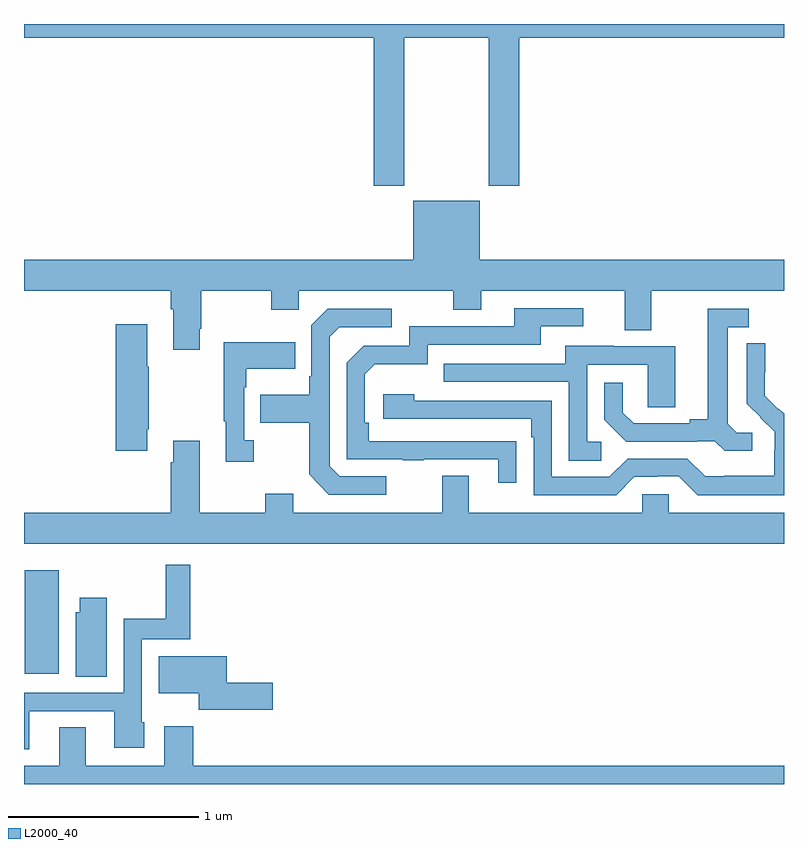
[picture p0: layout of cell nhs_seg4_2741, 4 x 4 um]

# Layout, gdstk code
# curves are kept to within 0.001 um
import gdstk
lib = gdstk.Library(unit=1e-6, precision=1e-09)
def R(c, l, rs):  # rectangles x0, y0, x1, y1
    for r in rs: c.add(gdstk.rectangle(r[:2], r[2:], *l))
def P(c, l, *ps):  # polygons
    for p in ps: c.add(gdstk.Polygon(p, *l))
L2000_40 = (2000, 40)

nhs_seg4_2741 = lib.new_cell('nhs_seg4_2741')
R(nhs_seg4_2741, L2000_40, [(255.005,785.48,255.184,786.025)])
P(nhs_seg4_2741, L2000_40, [(257.001,788.828),(257.446,788.828),(257.446,788.049),(257.606,788.049),(257.606,788.828),(259,788.828),(259,788.9),(255,788.9),(255,788.828),(256.841,788.828),(256.841,788.049),(257.001,788.049)],
  [(255.925,787.297),(255.933,787.297),(255.933,787.496),(256.3,787.496),(256.3,787.397),(256.446,787.397),(256.446,787.496),(257.26,787.496),(257.26,787.397),(257.407,787.397),(257.407,787.496),(258.161,787.496),(258.161,787.288),(258.301,787.288),(258.301,787.496),(259,787.496),(259,787.66),(257.398,787.66),(257.398,787.969),(257.048,787.969),(257.048,787.66),(255,787.66),(255,787.496),(255.773,787.496),(255.773,787.4),(255.785,787.4),(255.785,787.185),(255.925,787.185)],
  [(257.591,786.704),(256.814,786.705),(256.814,786.802),(256.794,786.802),(256.794,787.056),(256.847,787.109),(257.124,787.109),(257.124,787.212),(257.719,787.212),(257.719,787.308),(257.944,787.308),(257.944,787.404),(257.579,787.404),(257.579,787.308),(257.028,787.308),(257.028,787.206),(256.788,787.206),(256.698,787.116),(256.698,786.609),(256.993,786.609),(256.993,786.604),(257.105,786.604),(257.105,786.609),(257.495,786.609),(257.495,786.486),(257.591,786.486)],
  [(256.906,786.519),(256.662,786.519),(256.608,786.573),(256.608,787.254),(256.659,787.305),(256.936,787.305),(256.936,787.401),(256.599,787.401),(256.512,787.314),(256.512,787.045),(256.5,787.045),(256.5,786.949),(256.243,786.949),(256.243,786.802),(256.5,786.802),(256.5,786.529),(256.605,786.423),(256.906,786.423)],
  [(258.832,786.75),(258.75,786.75),(258.703,786.797),(258.703,787.305),(258.814,787.305),(258.814,787.401),(258.599,787.401),(258.599,786.821),(258.503,786.821),(258.503,786.798),(258.208,786.798),(258.151,786.855),(258.151,787.012),(258.054,787.012),(258.054,786.818),(258.17,786.702),(258.542,786.702),(258.542,786.705),(258.636,786.705),(258.688,786.653),(258.832,786.653)],
  [(255.649,786.766),(255.657,786.766),(255.657,787.097),(255.649,787.097),(255.649,787.321),(255.482,787.321),(255.482,786.654),(255.649,786.654)],
  [(256.21,786.71),(256.158,786.71),(256.158,786.989),(256.171,786.989),(256.171,787.085),(256.427,787.085),(256.427,787.225),(256.05,787.225),(256.05,786.809),(256.061,786.809),(256.061,786.597),(256.21,786.597)],
  [(259,786.848),(258.972,786.876),(258.969,786.873),(258.899,786.944),(258.9,787.22),(258.804,787.22),(258.804,786.902),(258.95,786.754),(258.95,786.657),(258.948,786.657),(258.948,786.523),(258.685,786.523),(258.685,786.519),(258.585,786.519),(258.492,786.612),(258.177,786.612),(258.081,786.516),(257.778,786.516),(257.778,786.918),(257.054,786.918),(257.054,786.952),(256.892,786.952),(256.892,786.822),(257.669,786.822),(257.669,786.725),(257.682,786.725),(257.682,786.42),(258.117,786.42),(258.213,786.516),(258.332,786.516),(258.332,786.519),(258.447,786.519),(258.547,786.419),(259,786.419)],
  [(258.037,786.702),(257.964,786.702),(257.964,787.107),(258.282,787.107),(258.282,786.883),(258.427,786.883),(258.427,787.203),(258.103,787.203),(258.103,787.207),(257.849,787.207),(257.849,787.113),(257.209,787.113),(257.209,787.017),(257.868,787.017),(257.868,786.601),(258.037,786.601)],
  [(259,786.328),(258.393,786.328),(258.393,786.426),(258.255,786.426),(258.255,786.328),(257.341,786.328),(257.341,786.523),(257.201,786.523),(257.201,786.328),(256.417,786.328),(256.417,786.427),(256.27,786.427),(256.27,786.328),(255.925,786.328),(255.925,786.706),(255.785,786.706),(255.785,786.593),(255.773,786.593),(255.773,786.328),(255,786.328),(255,786.164),(259,786.164)],
  [(255.028,785.283),(255.476,785.283),(255.476,785.09),(255.634,785.09),(255.634,785.226),(255.621,785.226),(255.621,785.661),(255.875,785.661),(255.875,786.055),(255.747,786.055),(255.747,785.77),(255.525,785.77),(255.525,785.379),(255,785.379),(255,785.082),(255.028,785.082)],
  [(255.436,785.881),(255.293,785.881),(255.293,785.805),(255.272,785.805),(255.272,785.464),(255.436,785.464)],
  [(256.309,785.432),(256.066,785.432),(256.066,785.572),(255.71,785.572),(255.71,785.378),(255.92,785.378),(255.92,785.29),(256.309,785.29)],
  [(259,784.996),(255.89,784.996),(255.89,785.203),(255.737,785.203),(255.737,784.996),(255.325,784.996),(255.325,785.198),(255.185,785.198),(255.185,784.996),(255,784.996),(255,784.9),(259,784.9)])

lib.write_gds('nhs_seg4_2741.gds')
